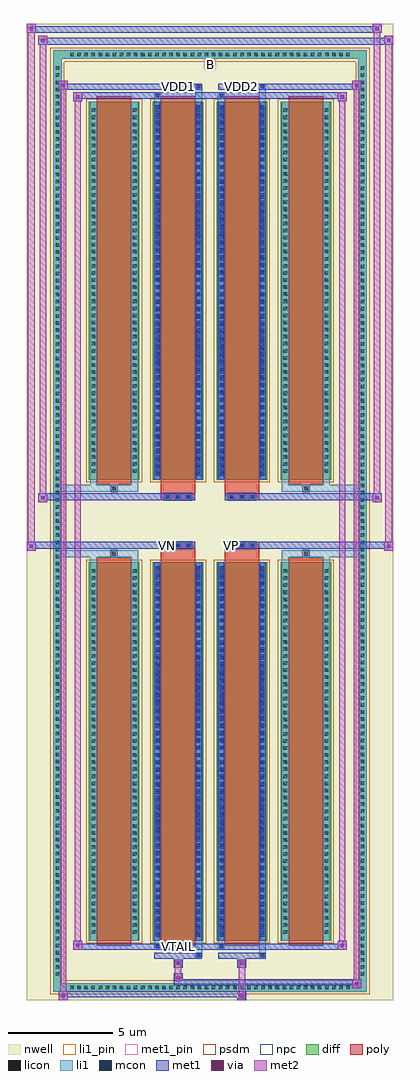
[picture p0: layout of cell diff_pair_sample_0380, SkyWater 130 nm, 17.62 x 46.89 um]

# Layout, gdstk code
import gdstk
lib = gdstk.Library(unit=1e-6, precision=5e-09)
def R(c, l, rs):  # rectangles x0, y0, x1, y1
    for r in rs: c.add(gdstk.rectangle(r[:2], r[2:], *l))
def A(c, l, x, y, w, h, nx, ny, dx, dy):  # array of equal rectangles
    R(c, l, [(x+i*dx, y+j*dy, x+i*dx+w, y+j*dy+h) for i in range(nx) for j in range(ny)])
def P(c, l, *ps):  # polygons
    for p in ps: c.add(gdstk.Polygon(p, *l))
nwell = (64, 20)
diff = (65, 20)
poly = (66, 20)
licon = (66, 44)
li1_pin = (67, 16)
li1 = (67, 20)
mcon = (67, 44)
met1_pin = (68, 16)
met1 = (68, 20)
via = (68, 44)
met2 = (69, 20)
psdm = (94, 20)
npc = (95, 20)

diff_pair_sample_0380 = lib.new_cell('diff_pair_sample_0380')
R(diff_pair_sample_0380, nwell, [(-8.81,-23.01,8.81,23.88), (-6.13,-21.2,-0.01,-0.8), (0.01,-21.2,6.13,-0.8), (-6.13,0.8,-0.01,21.2), (0.01,0.8,6.13,21.2)])
A(diff_pair_sample_0380, diff, -6.835, -22.61, 0.41, 0.41, 40, 2, 0.34, 44.81)
A(diff_pair_sample_0380, diff, -7.54, -21.965, 0.41, 0.41, 1, 129, 0, 0.34)
A(diff_pair_sample_0380, diff, 7.13, -21.965, 0.41, 0.41, 1, 129, 0, 0.34)
A(diff_pair_sample_0380, diff, -5.82, -20.155, 2.43, 18.17, 4, 2, 3.07, 22.14)
R(diff_pair_sample_0380, diff, [(-6.835,-22.61,6.835,-22.2), (-7.54,-21.965,-7.13,21.965), (7.13,-21.965,7.54,21.965), (-6.835,22.2,6.835,22.61)])
P(diff_pair_sample_0380, diff, [(7.54,22.61),(-7.54,22.61),(-7.54,-22.2),(-7.13,-22.2),(-7.13,22.2),(7.13,22.2),(7.13,-22.2),(-7.13,-22.2),(-7.54,-22.2),(-7.54,-22.61),(7.54,-22.61)])
A(diff_pair_sample_0380, poly, -5.43, -20.405, 1.65, 18.67, 4, 2, 3.07, 22.14)
A(diff_pair_sample_0380, poly, -2.2, -1.33, 0.33, 0.33, 3, 2, 0.5, 2.33)
A(diff_pair_sample_0380, poly, 0.87, -1.33, 0.33, 0.33, 3, 2, 0.5, 2.33)
R(diff_pair_sample_0380, poly, [(-4.77,-1.735,-4.44,-1.405), (-4.77,-1.735,-4.44,-1.405), (-2.36,-1.735,-0.71,-1.33), (0.71,-1.735,2.36,-1.33), (4.44,-1.735,4.77,-1.405), (4.44,-1.735,4.77,-1.405), (-2.36,-1.33,-0.71,-1), (0.71,-1.33,2.36,-1), (-2.36,1,-0.71,1.33), (0.71,1,2.36,1.33), (-2.36,1.33,-0.71,1.735), (0.71,1.33,2.36,1.735), (-4.77,1.405,-4.44,1.735), (-4.77,1.405,-4.44,1.735), (4.44,1.405,4.77,1.735), (4.44,1.405,4.77,1.735)])
A(diff_pair_sample_0380, licon, -6.715, -22.49, 0.17, 0.17, 40, 2, 0.34, 44.81)
A(diff_pair_sample_0380, licon, -7.42, -21.845, 0.17, 0.17, 1, 129, 0, 0.34)
A(diff_pair_sample_0380, licon, 7.25, -21.845, 0.17, 0.17, 1, 129, 0, 0.34)
A(diff_pair_sample_0380, licon, -5.68, -19.825, 0.17, 0.17, 1, 52, 0, 0.34)
A(diff_pair_sample_0380, licon, -3.7, -19.825, 0.17, 0.17, 1, 52, 0, 0.34)
A(diff_pair_sample_0380, licon, -2.61, -19.825, 0.17, 0.17, 1, 52, 0, 0.34)
A(diff_pair_sample_0380, licon, -0.63, -19.825, 0.17, 0.17, 1, 52, 0, 0.34)
A(diff_pair_sample_0380, licon, 0.46, -19.825, 0.17, 0.17, 1, 52, 0, 0.34)
A(diff_pair_sample_0380, licon, 2.44, -19.825, 0.17, 0.17, 1, 52, 0, 0.34)
A(diff_pair_sample_0380, licon, 3.53, -19.825, 0.17, 0.17, 1, 52, 0, 0.34)
A(diff_pair_sample_0380, licon, 5.51, -19.825, 0.17, 0.17, 1, 52, 0, 0.34)
A(diff_pair_sample_0380, licon, -2.12, -1.25, 0.17, 0.17, 3, 2, 0.5, 2.33)
A(diff_pair_sample_0380, licon, 0.95, -1.25, 0.17, 0.17, 3, 2, 0.5, 2.33)
A(diff_pair_sample_0380, licon, -5.68, 2.315, 0.17, 0.17, 1, 52, 0, 0.34)
A(diff_pair_sample_0380, licon, -3.7, 2.315, 0.17, 0.17, 1, 52, 0, 0.34)
A(diff_pair_sample_0380, licon, -2.61, 2.315, 0.17, 0.17, 1, 52, 0, 0.34)
A(diff_pair_sample_0380, licon, -0.63, 2.315, 0.17, 0.17, 1, 52, 0, 0.34)
A(diff_pair_sample_0380, licon, 0.46, 2.315, 0.17, 0.17, 1, 52, 0, 0.34)
A(diff_pair_sample_0380, licon, 2.44, 2.315, 0.17, 0.17, 1, 52, 0, 0.34)
A(diff_pair_sample_0380, licon, 3.53, 2.315, 0.17, 0.17, 1, 52, 0, 0.34)
A(diff_pair_sample_0380, licon, 5.51, 2.315, 0.17, 0.17, 1, 52, 0, 0.34)
R(diff_pair_sample_0380, licon, [(-4.69,-1.655,-4.52,-1.485), (4.52,-1.655,4.69,-1.485), (-4.69,1.485,-4.52,1.655), (4.52,1.485,4.69,1.655)])
R(diff_pair_sample_0380, li1_pin, [(-0.25,21.7,0.25,22.2)])
A(diff_pair_sample_0380, li1, -6.795, -22.57, 0.33, 0.33, 40, 2, 0.34, 44.81)
A(diff_pair_sample_0380, li1, -7.5, -21.925, 0.33, 0.33, 1, 129, 0, 0.34)
A(diff_pair_sample_0380, li1, 7.17, -21.925, 0.33, 0.33, 1, 129, 0, 0.34)
A(diff_pair_sample_0380, li1, -2.61, -19.975, 0.17, 0.17, 1, 50, 0, 0.36)
A(diff_pair_sample_0380, li1, -0.63, -19.975, 0.17, 0.17, 1, 50, 0, 0.36)
A(diff_pair_sample_0380, li1, 0.46, -19.975, 0.17, 0.17, 1, 50, 0, 0.36)
A(diff_pair_sample_0380, li1, 2.44, -19.975, 0.17, 0.17, 1, 50, 0, 0.36)
A(diff_pair_sample_0380, li1, -5.76, -19.905, 0.33, 0.33, 1, 52, 0, 0.34)
A(diff_pair_sample_0380, li1, -3.78, -19.905, 0.33, 0.33, 1, 52, 0, 0.34)
A(diff_pair_sample_0380, li1, -2.69, -19.905, 0.33, 0.33, 1, 52, 0, 0.34)
A(diff_pair_sample_0380, li1, -0.71, -19.905, 0.33, 0.33, 1, 52, 0, 0.34)
A(diff_pair_sample_0380, li1, 0.38, -19.905, 0.33, 0.33, 1, 52, 0, 0.34)
A(diff_pair_sample_0380, li1, 2.36, -19.905, 0.33, 0.33, 1, 52, 0, 0.34)
A(diff_pair_sample_0380, li1, 3.45, -19.905, 0.33, 0.33, 1, 52, 0, 0.34)
A(diff_pair_sample_0380, li1, 5.43, -19.905, 0.33, 0.33, 1, 52, 0, 0.34)
A(diff_pair_sample_0380, li1, -2.2, -1.33, 0.33, 0.33, 3, 2, 0.5, 2.33)
A(diff_pair_sample_0380, li1, 0.87, -1.33, 0.33, 0.33, 3, 2, 0.5, 2.33)
A(diff_pair_sample_0380, li1, -2.61, 2.165, 0.17, 0.17, 1, 50, 0, 0.36)
A(diff_pair_sample_0380, li1, -0.63, 2.165, 0.17, 0.17, 1, 50, 0, 0.36)
A(diff_pair_sample_0380, li1, 0.46, 2.165, 0.17, 0.17, 1, 50, 0, 0.36)
A(diff_pair_sample_0380, li1, 2.44, 2.165, 0.17, 0.17, 1, 50, 0, 0.36)
A(diff_pair_sample_0380, li1, -5.76, 2.235, 0.33, 0.33, 1, 52, 0, 0.34)
A(diff_pair_sample_0380, li1, -3.78, 2.235, 0.33, 0.33, 1, 52, 0, 0.34)
A(diff_pair_sample_0380, li1, -2.69, 2.235, 0.33, 0.33, 1, 52, 0, 0.34)
A(diff_pair_sample_0380, li1, -0.71, 2.235, 0.33, 0.33, 1, 52, 0, 0.34)
A(diff_pair_sample_0380, li1, 0.38, 2.235, 0.33, 0.33, 1, 52, 0, 0.34)
A(diff_pair_sample_0380, li1, 2.36, 2.235, 0.33, 0.33, 1, 52, 0, 0.34)
A(diff_pair_sample_0380, li1, 3.45, 2.235, 0.33, 0.33, 1, 52, 0, 0.34)
A(diff_pair_sample_0380, li1, 5.43, 2.235, 0.33, 0.33, 1, 52, 0, 0.34)
R(diff_pair_sample_0380, li1, [(-7.54,-22.61,-7.13,-22.2), (-7.54,-22.61,-7.13,-22.2), (-7.13,-22.61,7.13,-22.2), (7.13,-22.61,7.54,-22.2), (7.13,-22.61,7.54,-22.2), (-7.54,-22.2,-7.13,22.2), (7.13,-22.2,7.54,22.2), (-0.71,-20.96,-0.38,-20.155), (-0.63,-20.96,-0.46,-20.79), (2.36,-20.96,2.69,-20.155), (2.44,-20.96,2.61,-20.79), (-2.69,-20.53,-2.36,-20.155), (-2.61,-20.53,-2.44,-20.36), (0.38,-20.53,0.71,-20.155), (0.46,-20.53,0.63,-20.36), (-5.76,-20.155,-5.43,-1.985), (-3.78,-20.155,-3.45,-1.985), (-2.69,-20.155,-2.36,-1.985), (-0.71,-20.155,-0.38,-1.985), (0.38,-20.155,0.71,-1.985), (2.36,-20.155,2.69,-1.985), (3.45,-20.155,3.78,-1.985), (5.43,-20.155,5.76,-1.985), (-2.61,-19.975,-2.44,-2.165), (-0.63,-19.975,-0.46,-2.165), (0.46,-19.975,0.63,-2.165), (2.44,-19.975,2.61,-2.165), (-5.76,-1.985,-5.43,-1.405), (-3.78,-1.985,-3.45,-1.405), (3.45,-1.985,3.78,-1.405), (5.43,-1.985,5.76,-1.405), (-7.54,-1.735,-4.77,-1.405), (-5.76,-1.735,-4.77,-1.405), (-4.77,-1.735,-4.44,-1.405), (-4.44,-1.735,-3.45,-1.405), (3.45,-1.735,4.44,-1.405), (4.44,-1.735,4.77,-1.405), (4.44,-1.735,7.54,-1.405), (4.77,-1.735,5.76,-1.405), (-7.54,1.405,-4.77,1.735), (-5.76,1.405,-4.77,1.735), (-5.76,1.405,-5.43,1.985), (-4.77,1.405,-4.44,1.735), (-4.44,1.405,-3.45,1.735), (-3.78,1.405,-3.45,1.985), (3.45,1.405,4.44,1.735), (3.45,1.405,3.78,1.985), (4.44,1.405,4.77,1.735), (4.44,1.405,7.54,1.735), (4.77,1.405,5.76,1.735), (5.43,1.405,5.76,1.985), (-5.76,1.985,-5.43,20.155), (-3.78,1.985,-3.45,20.155), (-2.69,1.985,-2.36,20.155), (-0.71,1.985,-0.38,20.155), (0.38,1.985,0.71,20.155), (2.36,1.985,2.69,20.155), (3.45,1.985,3.78,20.155), (5.43,1.985,5.76,20.155), (-2.61,2.165,-2.44,19.975), (-0.63,2.165,-0.46,19.975), (0.46,2.165,0.63,19.975), (2.44,2.165,2.61,19.975), (-2.69,20.155,-2.36,20.53), (-0.71,20.155,-0.38,20.96), (0.38,20.155,0.71,20.53), (2.36,20.155,2.69,20.96), (-2.61,20.36,-2.44,20.53), (0.46,20.36,0.63,20.53), (-0.63,20.79,-0.46,20.96), (2.44,20.79,2.61,20.96), (-7.54,22.2,-7.13,22.61), (-7.54,22.2,-7.13,22.61), (-7.13,22.2,7.13,22.61), (7.13,22.2,7.54,22.61), (7.13,22.2,7.54,22.61)])
A(diff_pair_sample_0380, mcon, -2.61, -19.975, 0.17, 0.17, 1, 50, 0, 0.36)
A(diff_pair_sample_0380, mcon, -0.63, -19.975, 0.17, 0.17, 1, 50, 0, 0.36)
A(diff_pair_sample_0380, mcon, 0.46, -19.975, 0.17, 0.17, 1, 50, 0, 0.36)
A(diff_pair_sample_0380, mcon, 2.44, -19.975, 0.17, 0.17, 1, 50, 0, 0.36)
A(diff_pair_sample_0380, mcon, -2.12, -1.25, 0.17, 0.17, 3, 2, 0.5, 2.33)
A(diff_pair_sample_0380, mcon, 0.95, -1.25, 0.17, 0.17, 3, 2, 0.5, 2.33)
A(diff_pair_sample_0380, mcon, -2.61, 2.165, 0.17, 0.17, 1, 50, 0, 0.36)
A(diff_pair_sample_0380, mcon, -0.63, 2.165, 0.17, 0.17, 1, 50, 0, 0.36)
A(diff_pair_sample_0380, mcon, 0.46, 2.165, 0.17, 0.17, 1, 50, 0, 0.36)
A(diff_pair_sample_0380, mcon, 2.44, 2.165, 0.17, 0.17, 1, 50, 0, 0.36)
R(diff_pair_sample_0380, mcon, [(-0.63,-20.96,-0.46,-20.79), (2.44,-20.96,2.61,-20.79), (-2.61,-20.53,-2.44,-20.36), (0.46,-20.53,0.63,-20.36), (-2.61,20.36,-2.44,20.53), (0.46,20.36,0.63,20.53), (-0.63,20.79,-0.46,20.96), (2.44,20.79,2.61,20.96)])
R(diff_pair_sample_0380, met1_pin, [(-1.67,-20.57,-1.4,-20.3), (-2.17,-1.29,-1.9,-1.02), (0.9,-1.29,1.17,-1.02), (-1.67,20.75,-1.4,21.02), (1.4,20.75,1.67,21.02)])
A(diff_pair_sample_0380, met1, -2.67, -20.035, 0.29, 0.29, 1, 50, 0, 0.36)
A(diff_pair_sample_0380, met1, -0.69, -20.035, 0.29, 0.29, 1, 50, 0, 0.36)
A(diff_pair_sample_0380, met1, 0.4, -20.035, 0.29, 0.29, 1, 50, 0, 0.36)
A(diff_pair_sample_0380, met1, 2.38, -20.035, 0.29, 0.29, 1, 50, 0, 0.36)
A(diff_pair_sample_0380, met1, -2.18, -1.31, 0.29, 0.29, 3, 2, 0.5, 2.33)
A(diff_pair_sample_0380, met1, 0.89, -1.31, 0.29, 0.29, 3, 2, 0.5, 2.33)
A(diff_pair_sample_0380, met1, -2.67, 2.105, 0.29, 0.29, 1, 50, 0, 0.36)
A(diff_pair_sample_0380, met1, -0.69, 2.105, 0.29, 0.29, 1, 50, 0, 0.36)
A(diff_pair_sample_0380, met1, 0.4, 2.105, 0.29, 0.29, 1, 50, 0, 0.36)
A(diff_pair_sample_0380, met1, 2.38, 2.105, 0.29, 0.29, 1, 50, 0, 0.36)
R(diff_pair_sample_0380, met1, [(-7.27,-23.01,-6.84,-22.58), (1.32,-23.01,1.75,-22.58), (-7.27,-22.87,1.75,-22.58), (6.84,-22.44,7.27,-22.01), (-1.75,-22.3,7.27,-22.01), (-1.75,-22.16,-1.32,-21.73), (-1.75,-21.45,-1.32,-21.02), (1.32,-21.45,1.75,-21.02), (-2.67,-21.02,-0.4,-20.73), (-0.69,-21.02,-0.4,-20.73), (0.4,-21.02,2.67,-20.73), (2.38,-21.02,2.67,-20.73), (-6.56,-20.59,-6.13,-20.16), (-6.56,-20.59,-2.67,-20.3), (-2.67,-20.59,-2.38,-20.3), (-2.67,-20.59,-0.4,-20.3), (-0.4,-20.59,0.4,-20.3), (0.4,-20.59,0.69,-20.3), (0.4,-20.59,2.67,-20.3), (2.67,-20.59,6.56,-20.3), (6.13,-20.59,6.56,-20.16), (-2.67,-20.155,-2.38,-1.985), (-0.69,-20.155,-0.4,-1.985), (0.4,-20.155,0.69,-1.985), (2.38,-20.155,2.67,-1.985), (-8.81,-1.43,-8.38,-1), (8.38,-1.43,8.81,-1), (-8.81,-1.33,-0.71,-1), (-2.36,-1.33,-0.71,-1), (0.71,-1.33,2.36,-1), (0.71,-1.33,8.81,-1), (-8.24,0.9,-7.81,1.33), (7.81,0.9,8.24,1.33), (-8.24,1,-2.36,1.33), (-2.36,1,-0.71,1.33), (0.71,1,2.36,1.33), (2.36,1,8.24,1.33), (-2.67,1.985,-2.38,20.155), (-0.69,1.985,-0.4,20.155), (0.4,1.985,0.69,20.155), (2.38,1.985,2.67,20.155), (-6.56,20.16,-6.13,20.59), (6.13,20.16,6.56,20.59), (-6.56,20.3,-2.67,20.59), (-2.67,20.3,-2.38,20.59), (-2.67,20.3,-0.4,20.59), (-0.4,20.3,0.4,20.59), (0.4,20.3,0.69,20.59), (0.4,20.3,2.67,20.59), (2.67,20.3,6.56,20.59), (-7.27,20.73,-6.84,21.16), (-7.27,20.73,-2.67,21.02), (-2.67,20.73,-0.4,21.02), (-0.69,20.73,-0.4,21.02), (0.4,20.73,2.67,21.02), (2.38,20.73,2.67,21.02), (2.67,20.73,7.27,21.02), (6.84,20.73,7.27,21.16), (-8.24,22.88,-7.81,23.31), (-8.24,22.88,-6.13,23.21), (-6.13,22.88,6.13,23.21), (6.13,22.88,8.81,23.21), (8.38,22.88,8.81,23.31), (-8.81,23.45,-8.38,23.88), (-8.81,23.45,-6.13,23.78), (-6.13,23.45,6.13,23.78), (6.13,23.45,8.24,23.78), (7.81,23.45,8.24,23.88)])
R(diff_pair_sample_0380, via, [(-7.13,-22.87,-6.98,-22.72), (1.46,-22.87,1.61,-22.72), (6.98,-22.3,7.13,-22.15), (-1.61,-22.02,-1.46,-21.87), (-1.61,-21.31,-1.46,-21.16), (1.46,-21.31,1.61,-21.16), (-6.42,-20.45,-6.27,-20.3), (6.27,-20.45,6.42,-20.3), (-8.67,-1.29,-8.52,-1.14), (8.52,-1.29,8.67,-1.14), (-8.1,1.04,-7.95,1.19), (7.95,1.04,8.1,1.19), (-6.42,20.3,-6.27,20.45), (6.27,20.3,6.42,20.45), (-7.13,20.87,-6.98,21.02), (6.98,20.87,7.13,21.02), (-8.1,23.02,-7.95,23.17), (8.52,23.02,8.67,23.17), (-8.67,23.59,-8.52,23.74), (7.95,23.59,8.1,23.74)])
R(diff_pair_sample_0380, met2, [(-7.27,-23.01,-6.84,-22.58), (-7.2,-23.01,-6.91,21.16), (-6.91,-23.01,-6.84,-22.58), (-7.22,-22.96,-6.89,-22.63), (1.37,-22.96,1.7,-22.63), (1.37,-22.63,1.7,-21.4), (6.84,-22.44,7.27,-22.01), (6.91,-22.44,7.2,21.16), (7.2,-22.44,7.27,-22.01), (6.89,-22.39,7.22,-22.06), (-1.7,-22.11,-1.37,-21.78), (-1.7,-21.78,-1.37,-21.4), (-1.7,-21.4,-1.37,-21.07), (1.37,-21.4,1.7,-21.07), (-6.56,-20.59,-6.13,-20.16), (-6.49,-20.59,-6.2,20.59), (-6.2,-20.59,-6.13,-20.16), (6.13,-20.59,6.56,-20.16), (6.2,-20.59,6.49,20.59), (6.49,-20.59,6.56,-20.16), (-6.51,-20.54,-6.18,-20.21), (6.18,-20.54,6.51,-20.21), (-8.81,-1.43,-8.38,-1), (-8.76,-1.43,-8.43,23.88), (-8.43,-1.43,-8.38,-1), (8.38,-1.43,8.81,-1), (8.43,-1.43,8.76,23.31), (8.76,-1.43,8.81,-1), (-8.76,-1.38,-8.43,-1.05), (8.43,-1.38,8.76,-1.05), (-8.24,0.9,-7.81,1.33), (-8.19,0.9,-7.86,23.31), (-7.86,0.9,-7.81,1.33), (7.81,0.9,8.24,1.33), (7.86,0.9,8.19,23.88), (8.19,0.9,8.24,1.33), (-8.19,0.95,-7.86,1.28), (7.86,0.95,8.19,1.28), (-6.56,20.16,-6.13,20.59), (-6.2,20.16,-6.13,20.59), (6.13,20.16,6.56,20.59), (6.49,20.16,6.56,20.59), (-6.51,20.21,-6.18,20.54), (6.18,20.21,6.51,20.54), (-7.27,20.73,-6.84,21.16), (-6.91,20.73,-6.84,21.16), (6.84,20.73,7.27,21.16), (7.2,20.73,7.27,21.16), (-7.22,20.78,-6.89,21.11), (6.89,20.78,7.22,21.11), (-8.24,22.88,-7.81,23.31), (-7.86,22.88,-7.81,23.31), (8.38,22.88,8.81,23.31), (8.76,22.88,8.81,23.31), (-8.19,22.93,-7.86,23.26), (8.43,22.93,8.76,23.26), (-8.81,23.45,-8.38,23.88), (-8.43,23.45,-8.38,23.88), (7.81,23.45,8.24,23.88), (8.19,23.45,8.24,23.88), (-8.76,23.5,-8.43,23.83), (7.86,23.5,8.19,23.83)])
A(diff_pair_sample_0380, psdm, -5.95, -20.285, 2.69, 18.43, 4, 2, 3.07, 22.14)
P(diff_pair_sample_0380, psdm, [(7.67,22.74),(-7.67,22.74),(-7.67,-22.07),(-7,-22.07),(-7,22.07),(7,22.07),(7,-22.07),(-7,-22.07),(-7.67,-22.07),(-7.67,-22.74),(7.67,-22.74)])
A(diff_pair_sample_0380, npc, -2.22, -1.35, 0.37, 0.37, 3, 2, 0.5, 2.33)
A(diff_pair_sample_0380, npc, 0.85, -1.35, 0.37, 0.37, 3, 2, 0.5, 2.33)
R(diff_pair_sample_0380, npc, [(-4.79,-1.755,-4.42,-1.385), (4.42,-1.755,4.79,-1.385), (-2.22,-1.35,-1.35,-0.98), (-2.22,-1.35,-1.35,-0.98), (-1.72,-1.35,-0.85,-0.98), (-1.72,-1.35,-0.85,-0.98), (0.85,-1.35,1.72,-0.98), (0.85,-1.35,1.72,-0.98), (1.35,-1.35,2.22,-0.98), (1.35,-1.35,2.22,-0.98), (-2.22,0.98,-1.35,1.35), (-2.22,0.98,-1.35,1.35), (-1.72,0.98,-0.85,1.35), (-1.72,0.98,-0.85,1.35), (0.85,0.98,1.72,1.35), (0.85,0.98,1.72,1.35), (1.35,0.98,2.22,1.35), (1.35,0.98,2.22,1.35), (-4.79,1.385,-4.42,1.755), (4.42,1.385,4.79,1.755)])
diff_pair_sample_0380.add(gdstk.Label('VTAIL', (-1.535,-20.435), layer=68, texttype=5))
diff_pair_sample_0380.add(gdstk.Label('VN', (-2.035,-1.155), layer=68, texttype=5))
diff_pair_sample_0380.add(gdstk.Label('VP', (1.035,-1.155), layer=68, texttype=5))
diff_pair_sample_0380.add(gdstk.Label('B', (0,21.95), layer=67, texttype=5))
diff_pair_sample_0380.add(gdstk.Label('VDD2', (1.535,20.885), layer=68, texttype=5))
diff_pair_sample_0380.add(gdstk.Label('VDD1', (-1.535,20.885), layer=68, texttype=5))

lib.write_gds('diff_pair_sample_0380.gds')
